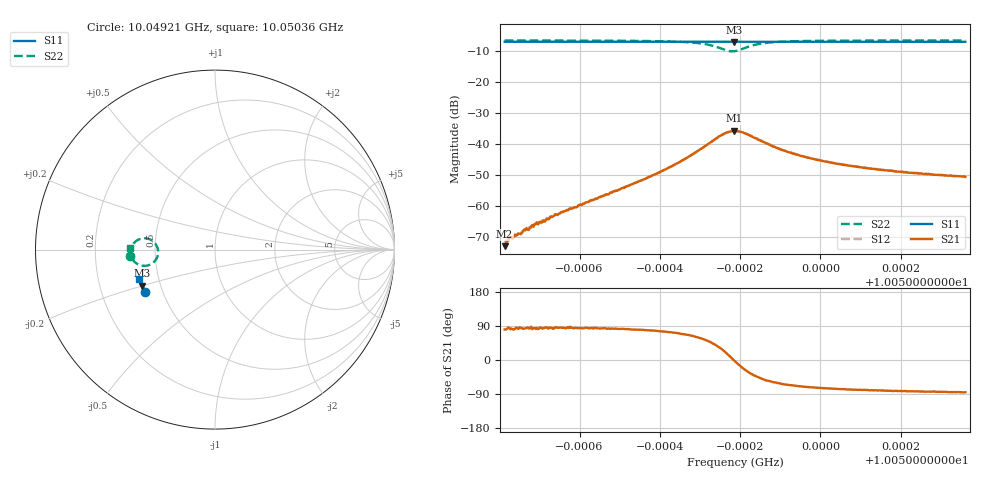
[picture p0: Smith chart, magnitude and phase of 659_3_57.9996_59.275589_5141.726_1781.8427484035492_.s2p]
#  HZ  S  RI  R  50.00
! Rohde & Schwarz Vector Network Analyzer
! Rohde-Schwarz,ZNB20-2Port,1311601062101988,3.16
! Created: UTC 3/21/2024, 1:19:53 AM
! freq[Hz]  re:S11  im:S11  re:S21  im:S21  re:S12  im:S12  re:S22  im:S22
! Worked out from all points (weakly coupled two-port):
!   401 points, 10.04921 GHz to 10.05036 GHz, reference 50 ohm
!   highest |S21| = -35.63 dB at 10.04978 GHz (marker M1); lowest = -72.9 dB at 10.04921 GHz (marker M2)
!   lowest |S11| = -6.9 dB at 10.04978 GHz (marker M3), VSWR 2.65, Z = 19.8 - j9.96 ohm
!   |S11| at or under -10 dB: nowhere
!   |S22| runs from -10.0 to -6.5 dB; largest |S21 - S12| = 0.0014
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1.0049213e10  -0.3894 -0.2344  3.69e-05 0.000223  5.62e-05 0.000259  -0.4738 -0.0329
1.0049225e10  -0.3898 -0.2337  2.41e-05 0.000316  1.79e-05 0.000304  -0.4737 -0.032
1.0049245e10  -0.3905 -0.2325  3.82e-05 0.000339  1.39e-05 0.000349  -0.4739 -0.03
1.0049251e10  -0.3907 -0.2321  2.33e-05 0.00036  1.22e-05 0.000388  -0.4738 -0.0294
1.0049288e10  -0.3917 -0.2299  5.23e-05 0.000513  2.02e-05 0.000492  -0.4737 -0.0257
1.0049331e10  -0.3932 -0.2274  5.71e-05 0.000663  3.19e-05 0.000677  -0.4735 -0.0211
1.0049406e10  -0.3956 -0.2231  0.000117 0.00104  1.24e-05 0.00107  -0.4725 -0.0127
1.0049523e10  -0.399 -0.2162  0.000325 0.00213  0.000209 0.00214  -0.4688 0.00504
1.0049598e10  -0.4013 -0.2115  0.000829 0.0034  0.000653 0.00343  -0.4621 0.0214
1.0049667e10  -0.403 -0.2073  0.00234 0.00553  0.002 0.00564  -0.4443 0.0441
1.0049733e10  -0.4044 -0.2028  0.0084 0.00775  0.00779 0.00836  -0.3837 0.0626
1.0049761e10  -0.4046 -0.2014  0.0138 0.00575  0.0134 0.00663  -0.3342 0.0356
1.0049784e10  -0.4048 -0.2005  0.0165 -0.000176  0.0163 0.00124  -0.3169 -0.0208
1.0049787e10  -0.4049 -0.2005  0.0164 -0.000876  0.0163 0.000255  -0.3181 -0.0286
1.0049802e10  -0.4055 -0.2001  0.0152 -0.00464  0.0155 -0.00356  -0.3339 -0.0623
1.0049819e10  -0.4061 -0.1994  0.0123 -0.00737  0.0131 -0.00642  -0.3644 -0.0848
1.0049859e10  -0.4076 -0.1974  0.00683 -0.00846  0.00741 -0.00797  -0.4212 -0.0854
1.0049911e10  -0.4095 -0.194  0.00339 -0.0071  0.00392 -0.0069  -0.452 -0.0642
1.0049979e10  -0.4115 -0.1897  0.00179 -0.00556  0.00213 -0.00551  -0.4659 -0.0427
1.0050057e10  -0.4135 -0.1851  0.00104 -0.00453  0.00134 -0.00453  -0.4715 -0.0265
1.0050172e10  -0.4165 -0.178  0.000565 -0.00374  0.000768 -0.00369  -0.4744 -0.00995
1.0050361e10  -0.4209 -0.1664  0.000261 -0.00297  0.000418 -0.00299  -0.4754 0.00986
